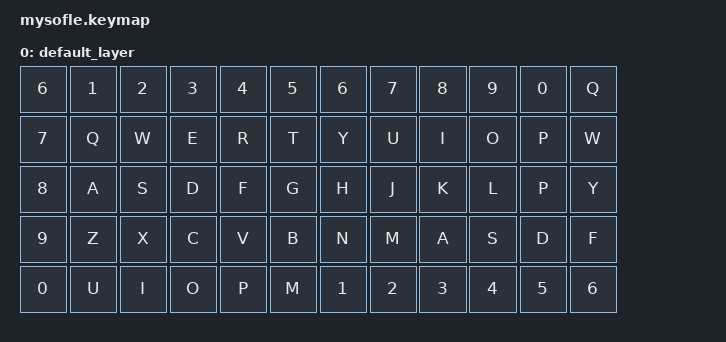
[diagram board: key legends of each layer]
/*
 * Copyright (c) 2020 The ZMK Contributors
 *
 * SPDX-License-Identifier: MIT
 */

#include <behaviors.dtsi>
#include <dt-bindings/zmk/keys.h>

/ {
    keymap {
        compatible = "zmk,keymap";

        default_layer {
            bindings = <
                &kp N6   &kp N1    &kp N2    &kp N3    &kp N4    &kp N5       &kp N6          &kp N7    &kp N8    &kp N9    &kp N0    &kp Q
                &kp N7   &kp Q     &kp W     &kp E     &kp R     &kp T        &kp Y           &kp U     &kp I     &kp O     &kp P     &kp W
                &kp N8   &kp A     &kp S     &kp D     &kp F     &kp G        &kp H           &kp J     &kp K     &kp L     &kp P     &kp Y
                &kp N9   &kp Z     &kp X     &kp C     &kp V     &kp B        &kp N           &kp M     &kp A     &kp S     &kp D     &kp F
                &kp N0   &kp U     &kp I     &kp O     &kp P     &kp M        &kp N1          &kp N2    &kp N3    &kp N4    &kp N5    &kp N6
            >;
        };
    };
};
